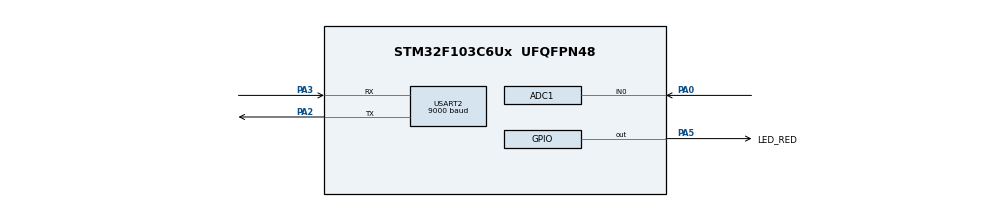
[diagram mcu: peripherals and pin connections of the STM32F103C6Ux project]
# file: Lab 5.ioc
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ADC1.Channel-0\#ChannelRegularConversion=ADC_CHANNEL_0
ADC1.ContinuousConvMode=ENABLE
ADC1.NbrOfConversionFlag=1
ADC1.Rank-0\#ChannelRegularConversion=1
ADC1.SamplingTime-0\#ChannelRegularConversion=ADC_SAMPLETIME_1CYCLE_5
ADC1.master=1
Mcu.Family=STM32F1
Mcu.Name=STM32F103C6Ux
Mcu.Package=UFQFPN48
NVIC.PriorityGroup=NVIC_PRIORITYGROUP_4
NVIC.TIM2_IRQn=true\:0\:0\:false\:false\:true\:true\:true
NVIC.USART2_IRQn=true\:0\:0\:false\:false\:true\:true\:true
PA0-WKUP.Signal=ADCx_IN0
PA2.Mode=Asynchronous
PA2.Signal=USART2_TX
PA3.Mode=Asynchronous
PA3.Signal=USART2_RX
PA5.GPIO_Label=LED_RED
PA5.Signal=GPIO_Output
ProjectManager.HeapSize=0x200
ProjectManager.StackSize=0x400
ProjectManager.TargetToolchain=STM32CubeIDE
RCC.APB1Freq_Value=8000000
RCC.APB2Freq_Value=8000000
SH.ADCx_IN0.0=ADC1_IN0,IN0
TIM2.Period=9
TIM2.Prescaler=7999
USART2.BaudRate=9000
USART2.VirtualMode=VM_ASYNC
VP_SYS_VS_ND.Mode=No_Debug
VP_TIM2_VS_ClockSourceINT.Mode=Internal
board=custom

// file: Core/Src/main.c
/* USER CODE BEGIN Header */
/**
 ******************************************************************************
 * @file           : main.c
 * @brief          : Main program body
 ******************************************************************************
 * @attention
 *
 * <h2><center>&copy; Copyright (c) 2021 STMicroelectronics.
 * All rights reserved.</center></h2>
 *
 * This software component is licensed by ST under BSD 3-Clause license,
 * the "License"; You may not use this file except in compliance with the
 * License. You may obtain a copy of the License at:
 *                        opensource.org/licenses/BSD-3-Clause
 *
 ******************************************************************************
 */
/* USER CODE END Header */
#include "main.h"
#include "stdio.h"

ADC_HandleTypeDef hadc1;

TIM_HandleTypeDef htim2;

UART_HandleTypeDef huart2;

void SystemClock_Config(void);
static void MX_GPIO_Init(void);
static void MX_ADC1_Init(void);
static void MX_USART2_UART_Init(void);
static void MX_TIM2_Init(void);

/* USER CODE BEGIN 0 */
#define MAX_BUFFER_SIZE 30
uint8_t temp = 0;
uint8_t CR = 13;
uint8_t buffer[MAX_BUFFER_SIZE];
uint8_t index_buffer = 0;
uint8_t buffer_flag = 0;
uint8_t index_buffer_2 = 0;
uint8_t command_data = 0;
uint8_t command_flag = 0;
uint8_t print_flag = 0;
uint32_t ADC_value = 0;
char string1[20] = "";
char end[20]="Communication ended!";
void HAL_UART_RxCpltCallback(UART_HandleTypeDef *huart) {
	if (huart->Instance == USART2) {
		HAL_UART_Transmit(&huart2, &temp, 1, 50);
		buffer[index_buffer++] = temp;
		uint8_t prev_index = index_buffer - 1;
		index_buffer_2 = index_buffer;
		if ((buffer[0] == 33 && buffer[prev_index] == 35)) {
			HAL_UART_Transmit(&huart2, &CR, 1, 50);
			buffer_flag = 1;
			index_buffer = 0;
			//HAL_GPIO_TogglePin(LED_RED_GPIO_Port, LED_RED_Pin);
		}
		if (temp == 13)
			index_buffer = 0;
		HAL_UART_Receive_IT(&huart2, &temp, 1);
	}
}
void command_parser_fsm() {
	if (index_buffer_2 == 5) {
		if (buffer[0] == '!')
			if (buffer[1] == 'R')
				if (buffer[2] == 'S')
					if (buffer[3] == 'T')
						if (buffer[4] == '#')
							command_data = 1;
	}
	if (index_buffer_2 == 4) {
		if (buffer[0] == '!')
			if (buffer[1] == 'O')
				if (buffer[2] == 'K')
					if (buffer[3] == '#')
						command_flag = 1;
	}

}
void print_to_console() {
	char str[20] = "";
	HAL_UART_Transmit(&huart2, (void*) str, sprintf(str, "!ADC = %lu#\r\n", ADC_value),
			1000);
	HAL_Delay(3000);
}
void uart_communication_fsm() {
	if (command_data == 1) {
		print_flag = 1;
		command_data = 0;
		ADC_value = HAL_ADC_GetValue(&hadc1);

	}
	if (command_flag == 1) {
		print_flag = 0;
		HAL_UART_Transmit(&huart2, (void*) end, 21, 1000);
		command_flag = 0;
	}
	if (print_flag == 1) {
		print_to_console();
	}
}

/* USER CODE END 0 */

int main(void)
{

  /* MCU Configuration--------------------------------------------------------*/

  /* Reset of all peripherals, Initializes the Flash interface and the Systick. */
  HAL_Init();

  /* Configure the system clock */
  SystemClock_Config();

  /* Initialize all configured peripherals */
  MX_GPIO_Init();
  MX_ADC1_Init();
  MX_USART2_UART_Init();
  MX_TIM2_Init();
  /* USER CODE BEGIN 2 */
	HAL_UART_Receive_IT(&huart2, &temp, 1);
	HAL_ADC_Start(&hadc1);
  /* USER CODE END 2 */

  /* Infinite loop */
	while (1) {
		if (buffer_flag == 1) {
			command_parser_fsm();
			buffer_flag = 0;
		}
		uart_communication_fsm();
	}
}

void SystemClock_Config(void)
{
  RCC_OscInitTypeDef RCC_OscInitStruct = {0};
  RCC_ClkInitTypeDef RCC_ClkInitStruct = {0};
  RCC_PeriphCLKInitTypeDef PeriphClkInit = {0};

  /** Initializes the RCC Oscillators according to the specified parameters
  * in the RCC_OscInitTypeDef structure.
  */
  RCC_OscInitStruct.OscillatorType = RCC_OSCILLATORTYPE_HSI;
  RCC_OscInitStruct.HSIState = RCC_HSI_ON;
  RCC_OscInitStruct.HSICalibrationValue = RCC_HSICALIBRATION_DEFAULT;
  RCC_OscInitStruct.PLL.PLLState = RCC_PLL_NONE;
  if (HAL_RCC_OscConfig(&RCC_OscInitStruct) != HAL_OK)
  {
    Error_Handler();
  }
  /** Initializes the CPU, AHB and APB buses clocks
  */
  RCC_ClkInitStruct.ClockType = RCC_CLOCKTYPE_HCLK|RCC_CLOCKTYPE_SYSCLK
                              |RCC_CLOCKTYPE_PCLK1|RCC_CLOCKTYPE_PCLK2;
  RCC_ClkInitStruct.SYSCLKSource = RCC_SYSCLKSOURCE_HSI;
  RCC_ClkInitStruct.AHBCLKDivider = RCC_SYSCLK_DIV1;
  RCC_ClkInitStruct.APB1CLKDivider = RCC_HCLK_DIV1;
  RCC_ClkInitStruct.APB2CLKDivider = RCC_HCLK_DIV1;

  if (HAL_RCC_ClockConfig(&RCC_ClkInitStruct, FLASH_LATENCY_0) != HAL_OK)
  {
    Error_Handler();
  }
  PeriphClkInit.PeriphClockSelection = RCC_PERIPHCLK_ADC;
  PeriphClkInit.AdcClockSelection = RCC_ADCPCLK2_DIV2;
  if (HAL_RCCEx_PeriphCLKConfig(&PeriphClkInit) != HAL_OK)
  {
    Error_Handler();
  }
}

static void MX_ADC1_Init(void)
{

  ADC_ChannelConfTypeDef sConfig = {0};

  /** Common config
  */
  hadc1.Instance = ADC1;
  hadc1.Init.ScanConvMode = ADC_SCAN_DISABLE;
  hadc1.Init.ContinuousConvMode = ENABLE;
  hadc1.Init.DiscontinuousConvMode = DISABLE;
  hadc1.Init.ExternalTrigConv = ADC_SOFTWARE_START;
  hadc1.Init.DataAlign = ADC_DATAALIGN_RIGHT;
  hadc1.Init.NbrOfConversion = 1;
  if (HAL_ADC_Init(&hadc1) != HAL_OK)
  {
    Error_Handler();
  }
  /** Configure Regular Channel
  */
  sConfig.Channel = ADC_CHANNEL_0;
  sConfig.Rank = ADC_REGULAR_RANK_1;
  sConfig.SamplingTime = ADC_SAMPLETIME_1CYCLE_5;
  if (HAL_ADC_ConfigChannel(&hadc1, &sConfig) != HAL_OK)
  {
    Error_Handler();
  }

}

static void MX_TIM2_Init(void)
{

  TIM_ClockConfigTypeDef sClockSourceConfig = {0};
  TIM_MasterConfigTypeDef sMasterConfig = {0};

  htim2.Instance = TIM2;
  htim2.Init.Prescaler = 7999;
  htim2.Init.CounterMode = TIM_COUNTERMODE_UP;
  htim2.Init.Period = 9;
  htim2.Init.ClockDivision = TIM_CLOCKDIVISION_DIV1;
  htim2.Init.AutoReloadPreload = TIM_AUTORELOAD_PRELOAD_DISABLE;
  if (HAL_TIM_Base_Init(&htim2) != HAL_OK)
  {
    Error_Handler();
  }
  sClockSourceConfig.ClockSource = TIM_CLOCKSOURCE_INTERNAL;
  if (HAL_TIM_ConfigClockSource(&htim2, &sClockSourceConfig) != HAL_OK)
  {
    Error_Handler();
  }
  sMasterConfig.MasterOutputTrigger = TIM_TRGO_RESET;
  sMasterConfig.MasterSlaveMode = TIM_MASTERSLAVEMODE_DISABLE;
  if (HAL_TIMEx_MasterConfigSynchronization(&htim2, &sMasterConfig) != HAL_OK)
  {
    Error_Handler();
  }

}

static void MX_USART2_UART_Init(void)
{

  huart2.Instance = USART2;
  huart2.Init.BaudRate = 9000;
  huart2.Init.WordLength = UART_WORDLENGTH_8B;
  huart2.Init.StopBits = UART_STOPBITS_1;
  huart2.Init.Parity = UART_PARITY_NONE;
  huart2.Init.Mode = UART_MODE_TX_RX;
  huart2.Init.HwFlowCtl = UART_HWCONTROL_NONE;
  huart2.Init.OverSampling = UART_OVERSAMPLING_16;
  if (HAL_UART_Init(&huart2) != HAL_OK)
  {
    Error_Handler();
  }

}

static void MX_GPIO_Init(void)
{
  GPIO_InitTypeDef GPIO_InitStruct = {0};

  /* GPIO Ports Clock Enable */
  __HAL_RCC_GPIOA_CLK_ENABLE();

  /*Configure GPIO pin Output Level */
  HAL_GPIO_WritePin(LED_RED_GPIO_Port, LED_RED_Pin, GPIO_PIN_RESET);

  /*Configure GPIO pin : LED_RED_Pin */
  GPIO_InitStruct.Pin = LED_RED_Pin;
  GPIO_InitStruct.Mode = GPIO_MODE_OUTPUT_PP;
  GPIO_InitStruct.Pull = GPIO_NOPULL;
  GPIO_InitStruct.Speed = GPIO_SPEED_FREQ_LOW;
  HAL_GPIO_Init(LED_RED_GPIO_Port, &GPIO_InitStruct);

}

void Error_Handler(void)
{
	__disable_irq();
	while (1) {
	}
}

/************************ (C) COPYRIGHT STMicroelectronics *****END OF FILE****/
